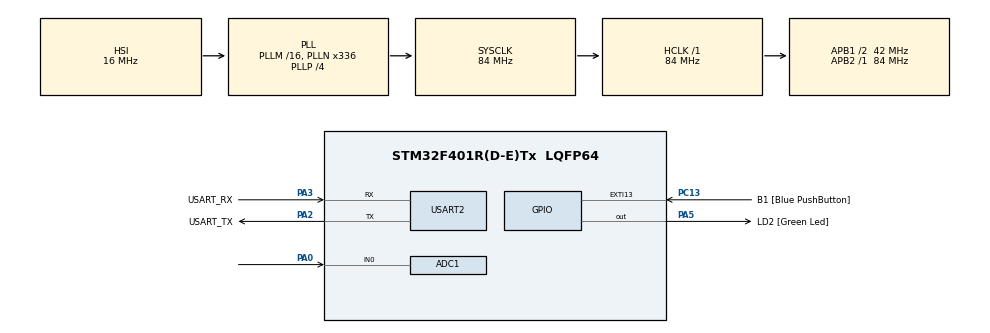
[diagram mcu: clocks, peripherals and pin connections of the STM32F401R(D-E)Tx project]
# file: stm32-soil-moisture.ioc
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ADC1.Channel-0\#ChannelRegularConversion=ADC_CHANNEL_0
ADC1.ContinuousConvMode=DISABLE
ADC1.NbrOfConversionFlag=1
ADC1.Rank-0\#ChannelRegularConversion=1
ADC1.SamplingTime-0\#ChannelRegularConversion=ADC_SAMPLETIME_480CYCLES
ADC1.master=1
Mcu.Family=STM32F4
Mcu.Name=STM32F401R(D-E)Tx
Mcu.Package=LQFP64
NVIC.PriorityGroup=NVIC_PRIORITYGROUP_4
PA0-WKUP.Signal=ADCx_IN0
PA13.GPIO_Label=TMS
PA13.Mode=Trace_Asynchronous_SW
PA13.Signal=SYS_JTMS-SWDIO
PA14.GPIO_Label=TCK
PA14.Mode=Trace_Asynchronous_SW
PA14.Signal=SYS_JTCK-SWCLK
PA2.GPIO_Label=USART_TX
PA2.GPIO_Mode=GPIO_MODE_AF_PP
PA2.GPIO_PuPd=GPIO_NOPULL
PA2.GPIO_Speed=GPIO_SPEED_FREQ_LOW
PA2.Mode=Asynchronous
PA2.Signal=USART2_TX
PA3.GPIO_Label=USART_RX
PA3.GPIO_Mode=GPIO_MODE_AF_PP
PA3.GPIO_PuPd=GPIO_NOPULL
PA3.GPIO_Speed=GPIO_SPEED_FREQ_LOW
PA3.Mode=Asynchronous
PA3.Signal=USART2_RX
PA5.GPIO_Label=LD2 [Green Led]
PA5.GPIO_Mode=GPIO_MODE_OUTPUT_PP
PA5.GPIO_PuPd=GPIO_NOPULL
PA5.GPIO_Speed=GPIO_SPEED_FREQ_LOW
PA5.Signal=GPIO_Output
PB3.GPIO_Label=SWO
PB3.Mode=Trace_Asynchronous_SW
PB3.Signal=SYS_JTDO-SWO
PC13-ANTI_TAMP.GPIO_Label=B1 [Blue PushButton]
PC13-ANTI_TAMP.GPIO_ModeDefaultEXTI=GPIO_MODE_IT_FALLING
PC13-ANTI_TAMP.GPIO_PuPd=GPIO_NOPULL
PC13-ANTI_TAMP.Signal=GPXTI13
PC14-OSC32_IN.Mode=LSE-External-Oscillator
PC14-OSC32_IN.Signal=RCC_OSC32_IN
PC15-OSC32_OUT.Mode=LSE-External-Oscillator
PC15-OSC32_OUT.Signal=RCC_OSC32_OUT
PH0\ -\ OSC_IN.Mode=HSE-External-Clock-Source
PH0\ -\ OSC_IN.Signal=RCC_OSC_IN
PH1\ -\ OSC_OUT.Mode=HSE-External-Clock-Source
PH1\ -\ OSC_OUT.Signal=RCC_OSC_OUT
ProjectManager.HeapSize=0x200
ProjectManager.StackSize=0x400
ProjectManager.TargetToolchain=STM32CubeIDE
RCC.48MHZClocksFreq_Value=48000000
RCC.AHBFreq_Value=84000000
RCC.APB1CLKDivider=RCC_HCLK_DIV2
RCC.APB1Freq_Value=42000000
RCC.APB1TimFreq_Value=84000000
RCC.APB2Freq_Value=84000000
RCC.APB2TimFreq_Value=84000000
RCC.CortexFreq_Value=84000000
RCC.HCLKFreq_Value=84000000
RCC.HSE_VALUE=8000000
RCC.HSI_VALUE=16000000
RCC.PLLN=336
RCC.PLLP=RCC_PLLP_DIV4
RCC.PLLQ=7
RCC.SYSCLKFreq_VALUE=84000000
RCC.SYSCLKSource=RCC_SYSCLKSOURCE_PLLCLK
RCC.VCOOutputFreq_Value=336000000
SH.ADCx_IN0.0=ADC1_IN0,IN0
USART2.VirtualMode=VM_ASYNC
board=NUCLEO-F401RE

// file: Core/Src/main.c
/* USER CODE BEGIN Header */
/**
  ******************************************************************************
  * @file           : main.c
  * @brief          : Main program body
  ******************************************************************************
  * @attention
  *
  * Copyright (c) 2025 STMicroelectronics.
  * All rights reserved.
  *
  * This software is licensed under terms that can be found in the LICENSE file
  * in the root directory of this software component.
  * If no LICENSE file comes with this software, it is provided AS-IS.
  *
  ******************************************************************************
  */
/* USER CODE END Header */
#include "main.h"

/* USER CODE BEGIN PD */
#define ADC_DRY 2730
#define ADC_WET 1190
/* USER CODE END PD */

ADC_HandleTypeDef hadc1;

UART_HandleTypeDef huart2;

void SystemClock_Config(void);
static void MX_GPIO_Init(void);
static void MX_ADC1_Init(void);
static void MX_USART2_UART_Init(void);

/* USER CODE BEGIN 0 */
int _write(int file, char *ptr, int len) {
  HAL_UART_Transmit(&huart2, (uint8_t*)ptr, len, HAL_MAX_DELAY);
  return len;
}

int getMoisturePercent(uint32_t adc_value)
{
  if (adc_value >= ADC_DRY) return 0;
  if (adc_value <= ADC_WET) return 100;

  return (ADC_DRY - adc_value) * 100 / (ADC_DRY - ADC_WET);
}
/* USER CODE END 0 */

int main(void)
{

  /* MCU Configuration--------------------------------------------------------*/

  /* Reset of all peripherals, Initializes the Flash interface and the Systick. */
  HAL_Init();

  /* Configure the system clock */
  SystemClock_Config();

  /* Initialize all configured peripherals */
  MX_GPIO_Init();
  MX_ADC1_Init();
  MX_USART2_UART_Init();

  /* Infinite loop */
  while (1)
  {

    /* USER CODE BEGIN 3 */
    HAL_ADC_Start(&hadc1);

    if (HAL_ADC_PollForConversion(&hadc1, 100) == HAL_OK)
    {
      uint32_t adc_value = HAL_ADC_GetValue(&hadc1);

      float voltage = adc_value * 3.3f / 4095.0f;

      int percent = getMoisturePercent(adc_value);

      printf("ADC: %lu | %.2fV | %d%% \r\n", adc_value, voltage, percent);
    }

    HAL_ADC_Stop(&hadc1);

    HAL_Delay(500);
  }
  /* USER CODE END 3 */
}

void SystemClock_Config(void)
{
  RCC_OscInitTypeDef RCC_OscInitStruct = {0};
  RCC_ClkInitTypeDef RCC_ClkInitStruct = {0};

  /** Configure the main internal regulator output voltage
  */
  __HAL_RCC_PWR_CLK_ENABLE();
  __HAL_PWR_VOLTAGESCALING_CONFIG(PWR_REGULATOR_VOLTAGE_SCALE2);

  /** Initializes the RCC Oscillators according to the specified parameters
  * in the RCC_OscInitTypeDef structure.
  */
  RCC_OscInitStruct.OscillatorType = RCC_OSCILLATORTYPE_HSI;
  RCC_OscInitStruct.HSIState = RCC_HSI_ON;
  RCC_OscInitStruct.HSICalibrationValue = RCC_HSICALIBRATION_DEFAULT;
  RCC_OscInitStruct.PLL.PLLState = RCC_PLL_ON;
  RCC_OscInitStruct.PLL.PLLSource = RCC_PLLSOURCE_HSI;
  RCC_OscInitStruct.PLL.PLLM = 16;
  RCC_OscInitStruct.PLL.PLLN = 336;
  RCC_OscInitStruct.PLL.PLLP = RCC_PLLP_DIV4;
  RCC_OscInitStruct.PLL.PLLQ = 7;
  if (HAL_RCC_OscConfig(&RCC_OscInitStruct) != HAL_OK)
  {
    Error_Handler();
  }

  /** Initializes the CPU, AHB and APB buses clocks
  */
  RCC_ClkInitStruct.ClockType = RCC_CLOCKTYPE_HCLK|RCC_CLOCKTYPE_SYSCLK
                              |RCC_CLOCKTYPE_PCLK1|RCC_CLOCKTYPE_PCLK2;
  RCC_ClkInitStruct.SYSCLKSource = RCC_SYSCLKSOURCE_PLLCLK;
  RCC_ClkInitStruct.AHBCLKDivider = RCC_SYSCLK_DIV1;
  RCC_ClkInitStruct.APB1CLKDivider = RCC_HCLK_DIV2;
  RCC_ClkInitStruct.APB2CLKDivider = RCC_HCLK_DIV1;

  if (HAL_RCC_ClockConfig(&RCC_ClkInitStruct, FLASH_LATENCY_2) != HAL_OK)
  {
    Error_Handler();
  }
}

static void MX_ADC1_Init(void)
{

  ADC_ChannelConfTypeDef sConfig = {0};

  /** Configure the global features of the ADC (Clock, Resolution, Data Alignment and number of conversion)
  */
  hadc1.Instance = ADC1;
  hadc1.Init.ClockPrescaler = ADC_CLOCK_SYNC_PCLK_DIV4;
  hadc1.Init.Resolution = ADC_RESOLUTION_12B;
  hadc1.Init.ScanConvMode = DISABLE;
  hadc1.Init.ContinuousConvMode = DISABLE;
  hadc1.Init.DiscontinuousConvMode = DISABLE;
  hadc1.Init.ExternalTrigConvEdge = ADC_EXTERNALTRIGCONVEDGE_NONE;
  hadc1.Init.ExternalTrigConv = ADC_SOFTWARE_START;
  hadc1.Init.DataAlign = ADC_DATAALIGN_RIGHT;
  hadc1.Init.NbrOfConversion = 1;
  hadc1.Init.DMAContinuousRequests = DISABLE;
  hadc1.Init.EOCSelection = ADC_EOC_SINGLE_CONV;
  if (HAL_ADC_Init(&hadc1) != HAL_OK)
  {
    Error_Handler();
  }

  /** Configure for the selected ADC regular channel its corresponding rank in the sequencer and its sample time.
  */
  sConfig.Channel = ADC_CHANNEL_0;
  sConfig.Rank = 1;
  sConfig.SamplingTime = ADC_SAMPLETIME_480CYCLES;
  if (HAL_ADC_ConfigChannel(&hadc1, &sConfig) != HAL_OK)
  {
    Error_Handler();
  }

}

static void MX_USART2_UART_Init(void)
{

  huart2.Instance = USART2;
  huart2.Init.BaudRate = 115200;
  huart2.Init.WordLength = UART_WORDLENGTH_8B;
  huart2.Init.StopBits = UART_STOPBITS_1;
  huart2.Init.Parity = UART_PARITY_NONE;
  huart2.Init.Mode = UART_MODE_TX_RX;
  huart2.Init.HwFlowCtl = UART_HWCONTROL_NONE;
  huart2.Init.OverSampling = UART_OVERSAMPLING_16;
  if (HAL_UART_Init(&huart2) != HAL_OK)
  {
    Error_Handler();
  }

}

static void MX_GPIO_Init(void)
{
  GPIO_InitTypeDef GPIO_InitStruct = {0};

  /* GPIO Ports Clock Enable */
  __HAL_RCC_GPIOC_CLK_ENABLE();
  __HAL_RCC_GPIOH_CLK_ENABLE();
  __HAL_RCC_GPIOA_CLK_ENABLE();
  __HAL_RCC_GPIOB_CLK_ENABLE();

  /*Configure GPIO pin Output Level */
  HAL_GPIO_WritePin(LD2_GPIO_Port, LD2_Pin, GPIO_PIN_RESET);

  /*Configure GPIO pin : B1_Pin */
  GPIO_InitStruct.Pin = B1_Pin;
  GPIO_InitStruct.Mode = GPIO_MODE_IT_FALLING;
  GPIO_InitStruct.Pull = GPIO_NOPULL;
  HAL_GPIO_Init(B1_GPIO_Port, &GPIO_InitStruct);

  /*Configure GPIO pin : LD2_Pin */
  GPIO_InitStruct.Pin = LD2_Pin;
  GPIO_InitStruct.Mode = GPIO_MODE_OUTPUT_PP;
  GPIO_InitStruct.Pull = GPIO_NOPULL;
  GPIO_InitStruct.Speed = GPIO_SPEED_FREQ_LOW;
  HAL_GPIO_Init(LD2_GPIO_Port, &GPIO_InitStruct);

}

void Error_Handler(void)
{
  __disable_irq();
  while (1)
  {
  }
}
